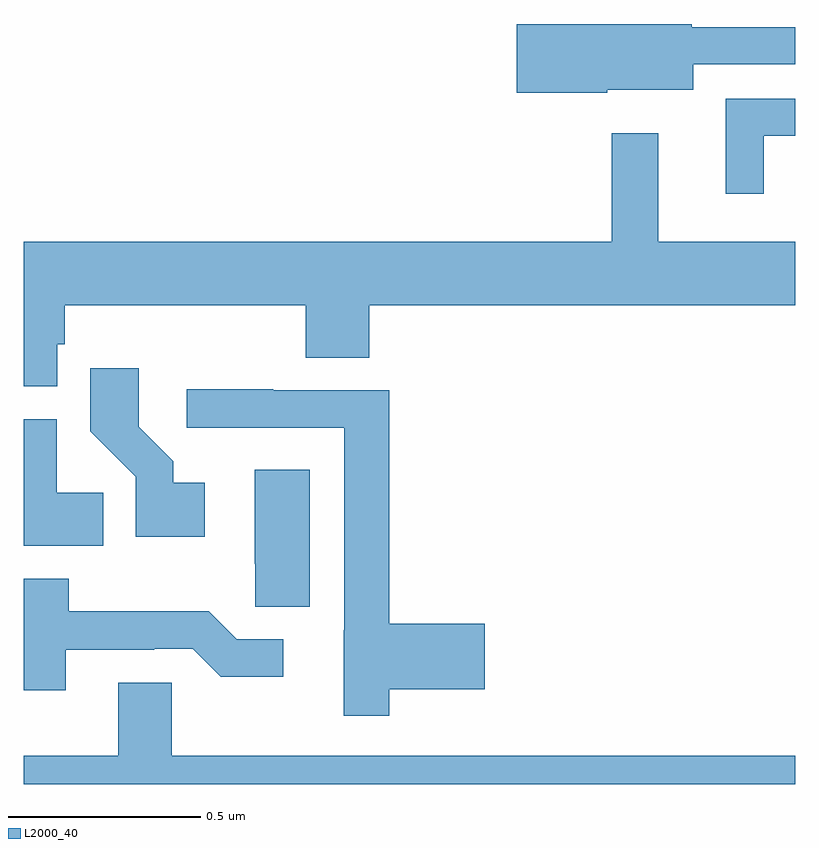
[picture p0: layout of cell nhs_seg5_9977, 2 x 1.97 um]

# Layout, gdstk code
import gdstk
lib = gdstk.Library(unit=1e-6, precision=1e-09)
def P(c, l, *ps):  # polygons
    for p in ps: c.add(gdstk.Polygon(p, *l))
L2000_40 = (2000, 40)

nhs_seg5_9977 = lib.new_cell('nhs_seg5_9977')
P(nhs_seg5_9977, L2000_40, [(241.512,910.598),(241.735,910.598),(241.735,910.665),(242,910.665),(242,910.761),(241.731,910.761),(241.731,910.769),(241.278,910.769),(241.278,910.591),(241.512,910.591)],
  [(241.918,910.479),(242,910.479),(242,910.575),(241.82,910.575),(241.82,910.329),(241.918,910.329)],
  [(240.087,909.939),(240.107,909.939),(240.107,910.04),(240.731,910.04),(240.731,909.904),(240.896,909.904),(240.896,910.04),(242,910.04),(242,910.204),(241.645,910.204),(241.645,910.486),(241.524,910.486),(241.524,910.204),(240,910.204),(240,909.83),(240.087,909.83)],
  [(240.469,909.58),(240.388,909.58),(240.388,909.635),(240.298,909.725),(240.298,909.877),(240.172,909.877),(240.172,909.714),(240.291,909.595),(240.291,909.44),(240.469,909.44)],
  [(240.947,909.044),(241.195,909.044),(241.195,909.215),(240.947,909.215),(240.947,909.819),(240.647,909.819),(240.647,909.822),(240.423,909.822),(240.423,909.723),(240.831,909.723),(240.831,909.198),(240.83,909.198),(240.83,908.976),(240.947,908.976)],
  [(240.206,909.554),(240.085,909.554),(240.085,909.745),(240,909.745),(240,909.416),(240.206,909.416)],
  [(240.742,909.613),(240.599,909.613),(240.599,909.37),(240.6,909.37),(240.6,909.259),(240.742,909.259)],
  [(240.109,909.147),(240.338,909.147),(240.338,909.15),(240.438,909.15),(240.511,909.077),(240.673,909.077),(240.673,909.174),(240.552,909.174),(240.479,909.247),(240.117,909.247),(240.117,909.331),(240,909.331),(240,909.042),(240.109,909.042)],
  [(242,908.872),(240.384,908.872),(240.384,909.062),(240.245,909.062),(240.245,908.872),(240,908.872),(240,908.799),(242,908.799)])

lib.write_gds('nhs_seg5_9977.gds')
